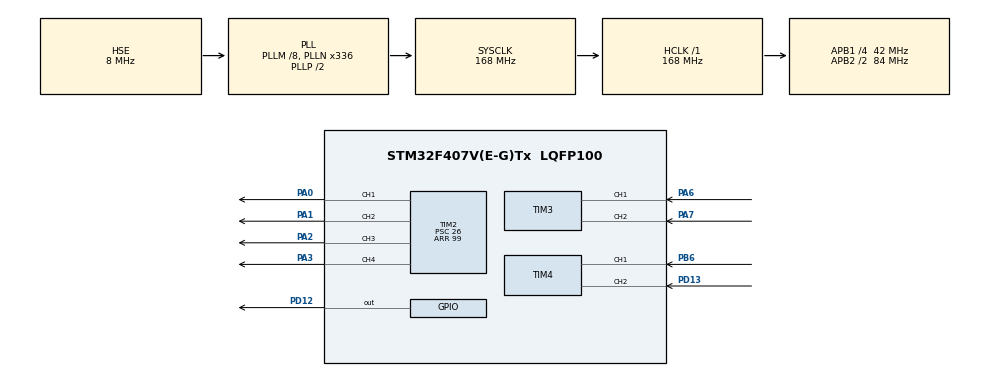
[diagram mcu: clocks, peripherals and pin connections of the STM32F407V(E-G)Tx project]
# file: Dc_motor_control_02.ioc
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FREERTOS.Tasks01=defaultTask,55,128,StartDefaultTask,Default,NULL,Dynamic,NULL,NULL;myTask02,55,128,StartTask02,Default,NULL,Dynamic,NULL,NULL;myTask03,55,128,StartTask03,Default,NULL,Dynamic,NULL,NULL
Mcu.Family=STM32F4
Mcu.Name=STM32F407V(E-G)Tx
Mcu.Package=LQFP100
NVIC.PriorityGroup=NVIC_PRIORITYGROUP_4
PA0-WKUP.Signal=S_TIM2_CH1_ETR
PA1.Signal=S_TIM2_CH2
PA13.Mode=Serial_Wire
PA13.Signal=SYS_JTMS-SWDIO
PA14.Mode=Serial_Wire
PA14.Signal=SYS_JTCK-SWCLK
PA2.Signal=S_TIM2_CH3
PA3.Signal=S_TIM2_CH4
PA6.Signal=S_TIM3_CH1
PA7.Signal=S_TIM3_CH2
PB6.Signal=S_TIM4_CH1
PD12.Signal=GPIO_Output
PD13.Signal=S_TIM4_CH2
PH0-OSC_IN.Mode=HSE-External-Oscillator
PH0-OSC_IN.Signal=RCC_OSC_IN
PH1-OSC_OUT.Mode=HSE-External-Oscillator
PH1-OSC_OUT.Signal=RCC_OSC_OUT
ProjectManager.HeapSize=0x200
ProjectManager.StackSize=0x400
ProjectManager.TargetToolchain=STM32CubeIDE
RCC.48MHZClocksFreq_Value=48000000
RCC.AHBFreq_Value=168000000
RCC.APB1CLKDivider=RCC_HCLK_DIV4
RCC.APB1Freq_Value=42000000
RCC.APB1TimFreq_Value=84000000
RCC.APB2CLKDivider=RCC_HCLK_DIV2
RCC.APB2Freq_Value=84000000
RCC.APB2TimFreq_Value=168000000
RCC.CortexFreq_Value=168000000
RCC.HCLKFreq_Value=168000000
RCC.HSE_VALUE=8000000
RCC.HSI_VALUE=16000000
RCC.LSE_VALUE=32768
RCC.PLLM=8
RCC.PLLN=336
RCC.PLLQ=7
RCC.PLLSourceVirtual=RCC_PLLSOURCE_HSE
RCC.SYSCLKFreq_VALUE=168000000
RCC.SYSCLKSource=RCC_SYSCLKSOURCE_PLLCLK
RCC.VCOOutputFreq_Value=336000000
SH.S_TIM2_CH1_ETR.0=TIM2_CH1,PWM Generation1 CH1
SH.S_TIM2_CH2.0=TIM2_CH2,PWM Generation2 CH2
SH.S_TIM2_CH3.0=TIM2_CH3,PWM Generation3 CH3
SH.S_TIM2_CH4.0=TIM2_CH4,PWM Generation4 CH4
SH.S_TIM3_CH1.0=TIM3_CH1,Encoder_Interface
SH.S_TIM3_CH2.0=TIM3_CH2,Encoder_Interface
SH.S_TIM4_CH1.0=TIM4_CH1,Encoder_Interface
SH.S_TIM4_CH2.0=TIM4_CH2,Encoder_Interface
TIM2.Channel-PWM\ Generation1\ CH1=TIM_CHANNEL_1
TIM2.Channel-PWM\ Generation2\ CH2=TIM_CHANNEL_2
TIM2.Channel-PWM\ Generation3\ CH3=TIM_CHANNEL_3
TIM2.Channel-PWM\ Generation4\ CH4=TIM_CHANNEL_4
TIM2.Period=99
TIM2.Prescaler=26
TIM3.EncoderMode=TIM_ENCODERMODE_TI12
VP_FREERTOS_VS_CMSIS_V2.Mode=CMSIS_V2
VP_TIM2_VS_ClockSourceINT.Mode=Internal
board=STM32F407G-DISC1

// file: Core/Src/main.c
/* USER CODE BEGIN Header */
/**
  ******************************************************************************
  * @file           : main.c
  * @brief          : Main program body
  ******************************************************************************
  * @attention
  *
  * Copyright (c) 2022 STMicroelectronics.
  * All rights reserved.
  *
  * This software is licensed under terms that can be found in the LICENSE file
  * in the root directory of this software component.
  * If no LICENSE file comes with this software, it is provided AS-IS.
  *
  ******************************************************************************
  */
/* USER CODE END Header */
#include "main.h"
#include "cmsis_os.h"
#include <math.h>

/* USER CODE BEGIN PTD */
int encoder,encoder2,angle,angle2;
double kp = 50.20, ki = 0.0, kd = 15.37; // CGO TETA 1
double kp2 = 51.79, ki2 = 9.13, kd2 =16.63; // CGO TETA 2

double input, output, setpoint;
double iTerm = 0, lastInput = 0, dInput = 0, error = 0;
double outMin =-50, outMax = 50;
double sampleTime = 10;

double input2, output2, setpoint2;
double iTerm2 = 0, lastInput2 = 0, dInput2 = 0, error2 = 0;

double teta1=0;
double teta2=0;
float c,tim,tim2;
int u;

float x;
float y;
float L1=17.75;
float  L2=8.25;

double o,p;
/* USER CODE END PTD */

TIM_HandleTypeDef htim2;
TIM_HandleTypeDef htim3;
TIM_HandleTypeDef htim4;

/* Definitions for defaultTask */
osThreadId_t defaultTaskHandle;
const osThreadAttr_t defaultTask_attributes = {
  .name = "defaultTask",
  .stack_size = 128 * 4,
  .priority = (osPriority_t) osPriorityRealtime7,
};
/* Definitions for myTask02 */
osThreadId_t myTask02Handle;
const osThreadAttr_t myTask02_attributes = {
  .name = "myTask02",
  .stack_size = 128 * 4,
  .priority = (osPriority_t) osPriorityRealtime7,
};
/* Definitions for myTask03 */
osThreadId_t myTask03Handle;
const osThreadAttr_t myTask03_attributes = {
  .name = "myTask03",
  .stack_size = 128 * 4,
  .priority = (osPriority_t) osPriorityRealtime7,
};

void SystemClock_Config(void);
static void MX_GPIO_Init(void);
static void MX_TIM2_Init(void);
static void MX_TIM3_Init(void);
static void MX_TIM4_Init(void);
void StartDefaultTask(void *argument);
void StartTask02(void *argument);
void StartTask03(void *argument);

/* USER CODE BEGIN 0 */

uint32_t MAP(uint32_t au32_IN, uint32_t au32_INmin, uint32_t au32_INmax, uint32_t au32_OUTmin, uint32_t au32_OUTmax)
{
    return ((((au32_IN - au32_INmin)*(au32_OUTmax - au32_OUTmin))/(au32_INmax - au32_INmin)) + au32_OUTmin);
}

void pwmOut(int out) {                                // to H-Bridge board

  if (out >0) {
	 __HAL_TIM_SET_COMPARE(&htim2,TIM_CHANNEL_1,out);
	    	 __HAL_TIM_SET_COMPARE(&htim2,TIM_CHANNEL_2,0);
  }
  else {

	 __HAL_TIM_SET_COMPARE(&htim2,TIM_CHANNEL_1,0);

	    	 __HAL_TIM_SET_COMPARE(&htim2,TIM_CHANNEL_2,out);

  }
}

void pwmOut2(int out) {                                // to H-Bridge board

  if (out > 0) {
	 __HAL_TIM_SET_COMPARE(&htim2,TIM_CHANNEL_3,out);
	    	 __HAL_TIM_SET_COMPARE(&htim2,TIM_CHANNEL_4,0);
  }

  else {

	 __HAL_TIM_SET_COMPARE(&htim2,TIM_CHANNEL_3,0);

	    	 __HAL_TIM_SET_COMPARE(&htim2,TIM_CHANNEL_4,out);

  }
}

/* USER CODE END 0 */

int main(void)
{

  /* MCU Configuration--------------------------------------------------------*/

  /* Reset of all peripherals, Initializes the Flash interface and the Systick. */

	HAL_Init();

  /* Configure the system clock */
  SystemClock_Config();

  /* Initialize all configured peripherals */
  MX_GPIO_Init();
  MX_TIM2_Init();
  MX_TIM3_Init();
  MX_TIM4_Init();
  /* USER CODE BEGIN 2 */
  HAL_TIM_PWM_Start(&htim2,TIM_CHANNEL_1);
  HAL_TIM_PWM_Start(&htim2,TIM_CHANNEL_2);
  HAL_TIM_PWM_Start(&htim2,TIM_CHANNEL_3);
  HAL_TIM_PWM_Start(&htim2,TIM_CHANNEL_4);

  HAL_TIM_Encoder_Start(&htim3, TIM_CHANNEL_1);
  HAL_TIM_Encoder_Start(&htim3, TIM_CHANNEL_2);

  HAL_TIM_Encoder_Start(&htim4, TIM_CHANNEL_1);
  HAL_TIM_Encoder_Start(&htim4, TIM_CHANNEL_2);
  /* USER CODE END 2 */

  /* Init scheduler */
  osKernelInitialize();

  /* Create the thread(s) */
  /* creation of defaultTask */
  defaultTaskHandle = osThreadNew(StartDefaultTask, NULL, &defaultTask_attributes);

  /* creation of myTask02 */
  myTask02Handle = osThreadNew(StartTask02, NULL, &myTask02_attributes);

  /* creation of myTask03 */
  myTask03Handle = osThreadNew(StartTask03, NULL, &myTask03_attributes);

  /* Start scheduler */
  osKernelStart();

  /* We should never get here as control is now taken by the scheduler */
  /* Infinite loop */
  while (1)
  {

  }
}

void SystemClock_Config(void)
{
  RCC_OscInitTypeDef RCC_OscInitStruct = {0};
  RCC_ClkInitTypeDef RCC_ClkInitStruct = {0};

  /** Configure the main internal regulator output voltage
  */
  __HAL_RCC_PWR_CLK_ENABLE();
  __HAL_PWR_VOLTAGESCALING_CONFIG(PWR_REGULATOR_VOLTAGE_SCALE1);

  /** Initializes the RCC Oscillators according to the specified parameters
  * in the RCC_OscInitTypeDef structure.
  */
  RCC_OscInitStruct.OscillatorType = RCC_OSCILLATORTYPE_HSE;
  RCC_OscInitStruct.HSEState = RCC_HSE_ON;
  RCC_OscInitStruct.PLL.PLLState = RCC_PLL_ON;
  RCC_OscInitStruct.PLL.PLLSource = RCC_PLLSOURCE_HSE;
  RCC_OscInitStruct.PLL.PLLM = 8;
  RCC_OscInitStruct.PLL.PLLN = 336;
  RCC_OscInitStruct.PLL.PLLP = RCC_PLLP_DIV2;
  RCC_OscInitStruct.PLL.PLLQ = 7;
  if (HAL_RCC_OscConfig(&RCC_OscInitStruct) != HAL_OK)
  {
    Error_Handler();
  }

  /** Initializes the CPU, AHB and APB buses clocks
  */
  RCC_ClkInitStruct.ClockType = RCC_CLOCKTYPE_HCLK|RCC_CLOCKTYPE_SYSCLK
                              |RCC_CLOCKTYPE_PCLK1|RCC_CLOCKTYPE_PCLK2;
  RCC_ClkInitStruct.SYSCLKSource = RCC_SYSCLKSOURCE_PLLCLK;
  RCC_ClkInitStruct.AHBCLKDivider = RCC_SYSCLK_DIV1;
  RCC_ClkInitStruct.APB1CLKDivider = RCC_HCLK_DIV4;
  RCC_ClkInitStruct.APB2CLKDivider = RCC_HCLK_DIV2;

  if (HAL_RCC_ClockConfig(&RCC_ClkInitStruct, FLASH_LATENCY_5) != HAL_OK)
  {
    Error_Handler();
  }
}

static void MX_TIM2_Init(void)
{

  TIM_ClockConfigTypeDef sClockSourceConfig = {0};
  TIM_MasterConfigTypeDef sMasterConfig = {0};
  TIM_OC_InitTypeDef sConfigOC = {0};

  htim2.Instance = TIM2;
  htim2.Init.Prescaler = 26;
  htim2.Init.CounterMode = TIM_COUNTERMODE_UP;
  htim2.Init.Period = 99;
  htim2.Init.ClockDivision = TIM_CLOCKDIVISION_DIV1;
  htim2.Init.AutoReloadPreload = TIM_AUTORELOAD_PRELOAD_DISABLE;
  if (HAL_TIM_Base_Init(&htim2) != HAL_OK)
  {
    Error_Handler();
  }
  sClockSourceConfig.ClockSource = TIM_CLOCKSOURCE_INTERNAL;
  if (HAL_TIM_ConfigClockSource(&htim2, &sClockSourceConfig) != HAL_OK)
  {
    Error_Handler();
  }
  if (HAL_TIM_PWM_Init(&htim2) != HAL_OK)
  {
    Error_Handler();
  }
  sMasterConfig.MasterOutputTrigger = TIM_TRGO_RESET;
  sMasterConfig.MasterSlaveMode = TIM_MASTERSLAVEMODE_DISABLE;
  if (HAL_TIMEx_MasterConfigSynchronization(&htim2, &sMasterConfig) != HAL_OK)
  {
    Error_Handler();
  }
  sConfigOC.OCMode = TIM_OCMODE_PWM1;
  sConfigOC.Pulse = 0;
  sConfigOC.OCPolarity = TIM_OCPOLARITY_HIGH;
  sConfigOC.OCFastMode = TIM_OCFAST_DISABLE;
  if (HAL_TIM_PWM_ConfigChannel(&htim2, &sConfigOC, TIM_CHANNEL_1) != HAL_OK)
  {
    Error_Handler();
  }
  if (HAL_TIM_PWM_ConfigChannel(&htim2, &sConfigOC, TIM_CHANNEL_2) != HAL_OK)
  {
    Error_Handler();
  }
  if (HAL_TIM_PWM_ConfigChannel(&htim2, &sConfigOC, TIM_CHANNEL_3) != HAL_OK)
  {
    Error_Handler();
  }
  if (HAL_TIM_PWM_ConfigChannel(&htim2, &sConfigOC, TIM_CHANNEL_4) != HAL_OK)
  {
    Error_Handler();
  }
  HAL_TIM_MspPostInit(&htim2);

}

static void MX_TIM3_Init(void)
{

  TIM_Encoder_InitTypeDef sConfig = {0};
  TIM_MasterConfigTypeDef sMasterConfig = {0};

  htim3.Instance = TIM3;
  htim3.Init.Prescaler = 0;
  htim3.Init.CounterMode = TIM_COUNTERMODE_UP;
  htim3.Init.Period = 65535;
  htim3.Init.ClockDivision = TIM_CLOCKDIVISION_DIV1;
  htim3.Init.AutoReloadPreload = TIM_AUTORELOAD_PRELOAD_DISABLE;
  sConfig.EncoderMode = TIM_ENCODERMODE_TI12;
  sConfig.IC1Polarity = TIM_ICPOLARITY_RISING;
  sConfig.IC1Selection = TIM_ICSELECTION_DIRECTTI;
  sConfig.IC1Prescaler = TIM_ICPSC_DIV1;
  sConfig.IC1Filter = 0;
  sConfig.IC2Polarity = TIM_ICPOLARITY_RISING;
  sConfig.IC2Selection = TIM_ICSELECTION_DIRECTTI;
  sConfig.IC2Prescaler = TIM_ICPSC_DIV1;
  sConfig.IC2Filter = 0;
  if (HAL_TIM_Encoder_Init(&htim3, &sConfig) != HAL_OK)
  {
    Error_Handler();
  }
  sMasterConfig.MasterOutputTrigger = TIM_TRGO_RESET;
  sMasterConfig.MasterSlaveMode = TIM_MASTERSLAVEMODE_DISABLE;
  if (HAL_TIMEx_MasterConfigSynchronization(&htim3, &sMasterConfig) != HAL_OK)
  {
    Error_Handler();
  }

}

static void MX_TIM4_Init(void)
{

  TIM_Encoder_InitTypeDef sConfig = {0};
  TIM_MasterConfigTypeDef sMasterConfig = {0};

  htim4.Instance = TIM4;
  htim4.Init.Prescaler = 0;
  htim4.Init.CounterMode = TIM_COUNTERMODE_UP;
  htim4.Init.Period = 65535;
  htim4.Init.ClockDivision = TIM_CLOCKDIVISION_DIV1;
  htim4.Init.AutoReloadPreload = TIM_AUTORELOAD_PRELOAD_DISABLE;
  sConfig.EncoderMode = TIM_ENCODERMODE_TI1;
  sConfig.IC1Polarity = TIM_ICPOLARITY_RISING;
  sConfig.IC1Selection = TIM_ICSELECTION_DIRECTTI;
  sConfig.IC1Prescaler = TIM_ICPSC_DIV1;
  sConfig.IC1Filter = 0;
  sConfig.IC2Polarity = TIM_ICPOLARITY_RISING;
  sConfig.IC2Selection = TIM_ICSELECTION_DIRECTTI;
  sConfig.IC2Prescaler = TIM_ICPSC_DIV1;
  sConfig.IC2Filter = 0;
  if (HAL_TIM_Encoder_Init(&htim4, &sConfig) != HAL_OK)
  {
    Error_Handler();
  }
  sMasterConfig.MasterOutputTrigger = TIM_TRGO_RESET;
  sMasterConfig.MasterSlaveMode = TIM_MASTERSLAVEMODE_DISABLE;
  if (HAL_TIMEx_MasterConfigSynchronization(&htim4, &sMasterConfig) != HAL_OK)
  {
    Error_Handler();
  }

}

static void MX_GPIO_Init(void)
{
  GPIO_InitTypeDef GPIO_InitStruct = {0};

  /* GPIO Ports Clock Enable */
  __HAL_RCC_GPIOH_CLK_ENABLE();
  __HAL_RCC_GPIOA_CLK_ENABLE();
  __HAL_RCC_GPIOD_CLK_ENABLE();
  __HAL_RCC_GPIOB_CLK_ENABLE();

  /*Configure GPIO pin Output Level */
  HAL_GPIO_WritePin(GPIOD, GPIO_PIN_12, GPIO_PIN_RESET);

  /*Configure GPIO pin : PD12 */
  GPIO_InitStruct.Pin = GPIO_PIN_12;
  GPIO_InitStruct.Mode = GPIO_MODE_OUTPUT_PP;
  GPIO_InitStruct.Pull = GPIO_NOPULL;
  GPIO_InitStruct.Speed = GPIO_SPEED_FREQ_LOW;
  HAL_GPIO_Init(GPIOD, &GPIO_InitStruct);

}

void StartDefaultTask(void *argument)
{
  /* USER CODE BEGIN 5 */
  /* Infinite loop */
  for(;;)
  {
	// encoder= __HAL_TIM_GET_COUNTER(&htim3);
	 //encoder2= __HAL_TIM_GET_COUNTER(&htim4);

	  if (!HAL_GPIO_ReadPin(GPIOD, GPIO_PIN_15)) {
			      HAL_Delay(30);
			          c +=15;
			      while(!HAL_GPIO_ReadPin(GPIOD, GPIO_PIN_15)){
			      }
			      HAL_Delay(10);

			      }

			  if (!HAL_GPIO_ReadPin(GPIOD, GPIO_PIN_14)) {
			      HAL_Delay(30);
			 	          c -=15;
			 	      while(!HAL_GPIO_ReadPin(GPIOD, GPIO_PIN_14)){
			 	      }
			 	      HAL_Delay(10);

			 	      }

 // __HAL_TIM_SET_COMPARE(&htim2,TIM_CHANNEL_1,50);
  //__HAL_TIM_SET_COMPARE(&htim2,TIM_CHANNEL_2,0);
	// __HAL_TIM_SET_COMPARE(&htim2,TIM_CHANNEL_3,75);
	// __HAL_TIM_SET_COMPARE(&htim2,TIM_CHANNEL_4,90);
	 // angle=  MAP(encoder,0,65535,0,360);
    osDelay(1);
  }
  /* USER CODE END 5 */
}

void StartTask02(void *argument)
{
  /* USER CODE BEGIN StartTask02 */
  /* Infinite loop */
  for(;;)
  {
	//  __HAL_TIM_SET_COMPARE(&htim2,TIM_CHANNEL_2,50);
	 // encoder= __HAL_TIM_GET_COUNTER(&htim3);

    osDelay(10);
  }
  /* USER CODE END StartTask02 */
}

void StartTask03(void *argument)
{
  /* USER CODE BEGIN StartTask03 */
  /* Infinite loop */
  for(;;)
  {

	  tim++;
	 // u+=tim;

      if(tim<200)
      {

            x=3;
            y=16;

    	 teta2= atan2(sqrt(1-((x*x+y*y-L1*L1-L2*L2)/(2*L1*L2))*((x*x+y*y-L1*L1-L2*L2)/(2*L1*L2))),
    	  	 			             	          			        ((x*x+y*y-L1*L1-L2*L2)/(2*L1*L2)));

    	teta1=atan2(y,x) - atan2(sqrt(y*y + x*x - pow((L2*cos(teta2)+L1),2)), (L2*cos(teta2)+L1));

    	teta2+=teta2*57.29;
    	teta1+=teta1*57.29;
    	  //	 teta2 +=113;
    	  	// teta1 +=51;

      }

	  	   if(tim>250&&tim<300)
	  	  {
	  		 // x=5;
	  		y=16;
	  				  for(x=3;x<5;x+=0.1){

	  		//int o=123;
	  	//int	p=42;

	  		o = atan2(sqrt(1-((x*x+y*y-L1*L1-L2*L2)/(2*L1*L2))*((x*x+y*y-L1*L1-L2*L2)/(2*L1*L2))),
	  		             	          			          ((x*x+y*y-L1*L1-L2*L2)/(2*L1*L2)));

	  	p=atan2(y,x) - atan2(sqrt(y*y + x*x - pow((L2*cos(o)+L1),2)), (L2*cos(o)+L1));

	  	o=o*57.29;
		p=p*57.29;
	  				  }
	  	if(teta2>o)
	  	{
	  teta2-=teta2-o;
	  }
	  	else
	 {
	 teta2 +=o-teta2;
	 }

	  if(teta1>p)
	  {
	  teta1 -=teta1-p;
	  }
	  else
	  {
	  	teta1 +=p-teta1;
	 }
	   }

	   else if(tim>400&&tim<600)
	  		{

	  		  x=5;
	  		 // y=14;

	    	//int	o=127;
	    		//int p=50;

	  		  for(y=16;y>14;y-=0.1){
	  	  o = atan2(sqrt(1-((x*x+y*y-L1*L1-L2*L2)/(2*L1*L2))*((x*x+y*y-L1*L1-L2*L2)/(2*L1*L2))),
	  	  			             	          			            ((x*x+y*y-L1*L1-L2*L2)/(2*L1*L2)));

	  	 	p=atan2(y,x) - atan2(sqrt(y*y + x*x - pow((L2*cos(o)+L1),2)), (L2*cos(o)+L1));

	  		o=o*57.29;
	  		p=p*57.29;
	  		  }
	  	  		if(teta2>o)
	  	  		{
	  	  			teta2-=teta2-o;
	  	  		}
	  	  		else
	  	  		{
	  	  			teta2 +=o-teta2;
	  	  		}

	  	  		if(teta1>p)
	  	  		{
	  	  			teta1 -=teta1-p;
	  	  		}
	  	  		else
	  	  		{
	  	  			teta1 +=p-teta1;
	  	  		}
	  		  	  }
/*
	  	  else if(tim>600&&tim<800)
	  	  {
	  		  x=3;
	  		  //y=16;

	  		//int  o=113;
	  		//int p=51;

	  		  for(y=14;y<16;y+=0.1){
	  		 o= atan2(sqrt(1-((x*x+y*y-L1*L1-L2*L2)/(2*L1*L2))*((x*x+y*y-L1*L1-L2*L2)/(2*L1*L2))),
	  			             	          			           ((x*x+y*y-L1*L1-L2*L2)/(2*L1*L2)));
	  		  p=atan2(y,x) - atan2(sqrt(y*y + x*x - pow((L2*cos(o)+L1),2)), (L2*cos(o)+L1));

	  		o=o*57.29;
	  	  	p=p*57.29;
	  		  }
	  		if(teta2>o)

	  		{
	  			  teta2-=teta2-o;
	  		}
	  		else
	  	   {
	  	    teta2 +=o-teta2;
	  	    }
	  	   if(teta1>p)
	  	   {
	  	  teta1 -=teta1-p;
	  		}
	  		else
	  		{
	  	  teta1 +=p-teta1;
	  	    }

	  	  }
*/
		 encoder2= __HAL_TIM_GET_COUNTER(&htim4);

	  int value = MAP(teta2,0,360,0,30000);
	 	  setpoint2 = value;                                    // set position
	 	  input2 =   encoder2 ;                                 // data from encoder
	 	  error2 = setpoint2 - input2;
	 	  iTerm2 += ki2 * error2 * sampleTime;
	 	  if (iTerm2 > outMax) iTerm2= outMax;                  // prevent iTerm windup
	 	  else if (iTerm2 < outMin) iTerm2 = outMin;
	 	  dInput2 = (input2 - lastInput2) / sampleTime;
	 	  output2 = kp2 * error2 + iTerm2 - kd2 * dInput2;          // compute PID Output
	 	  if (output2 > outMax) output2 = outMax;               // limit output
	 	  else if (output2 < outMin) output2 = outMin;
	 	  lastInput2 = input2;
	 	 pwmOut2(output2);
		  angle2=  MAP(encoder2,0,65535,0,360);

		  angle2 = (angle2*2)+8;

		  encoder= __HAL_TIM_GET_COUNTER(&htim3);

		  int value2 = MAP(teta1,0,360,0,30000);
		 	  setpoint = value2;           // set position
		 	  input =   encoder ;                                 // data from encoder
		 	  error = setpoint - input;
		 	  iTerm += ki * error * sampleTime;
		 	  if (iTerm > outMax) iTerm= outMax;                 // prevent iTerm windup
		 	  else if (iTerm < outMin) iTerm = outMin;
		 	  dInput = (input - lastInput) / sampleTime;
		 	  output = kp * error + iTerm - kd * dInput;          // compute PID Output
		 	  if (output > outMax) output = outMax;               // limit output
		 	  else if (output < outMin) output = outMin;
		 	  lastInput = input;
			 pwmOut(output);
			  angle=  MAP(encoder,0,65535,0,360);

			  angle = (angle*2)+8;

		// __HAL_TIM_SET_COMPARE(&htim2,TIM_CHANNEL_3,100);

    osDelay(10);
  }
  /* USER CODE END StartTask03 */
}

void Error_Handler(void)
{
  __disable_irq();
  while (1)
  {
  }
}
